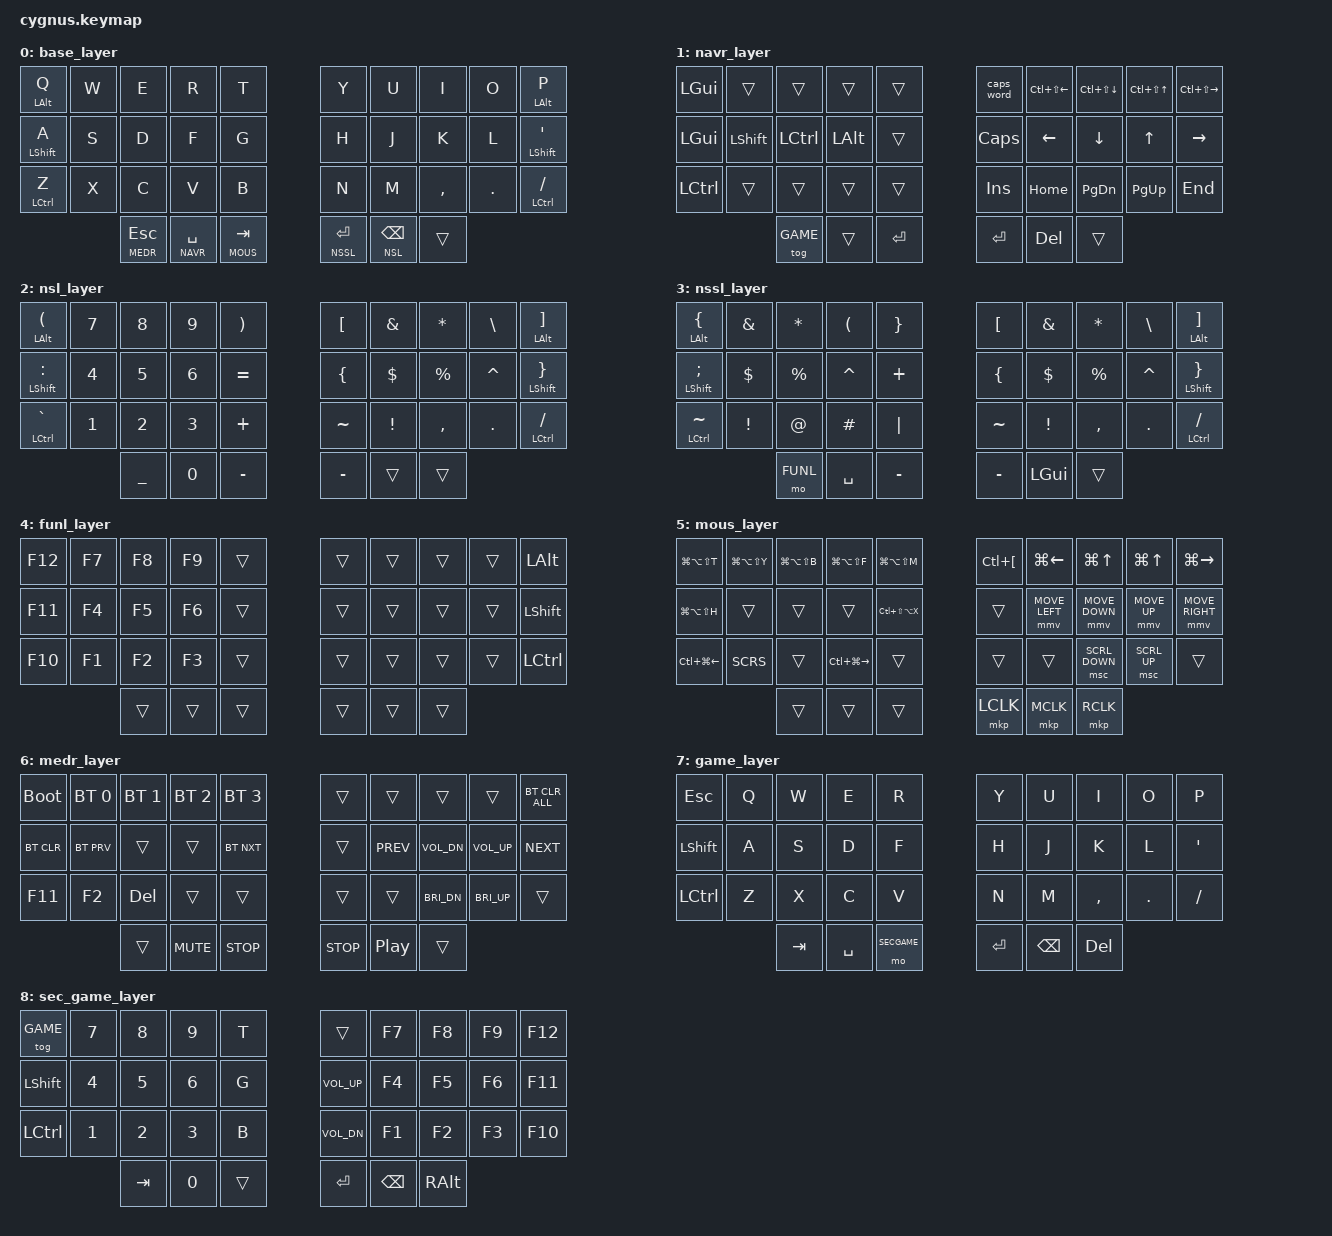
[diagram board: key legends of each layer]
/*
 * Copyright (c) 2020 The ZMK Contributors
 *
 * SPDX-License-Identifier: MIT
 */

#define ZMK_POINTING_DEFAULT_MOVE_VAL 1200  // default: 600

#include <behaviors.dtsi>
#include <dt-bindings/zmk/keys.h>
#include <dt-bindings/zmk/bt.h>
#include <dt-bindings/zmk/pointing.h>

#define BASE 0
#define NAVR 1
#define NSL  2
#define NSSL 3
#define FUNL 4
#define MOUS 5
#define MEDR 6
#define GAME 7
#define SECGAME 8

#define Y_TERM LG(LA(LS(T))) // Yabai: Terminal Scratchpad
#define Y_CALE LG(LA(LS(B))) // Yabai: Calendar Scratchpad
#define Y_SPOT LG(LA(LS(Y))) // Yabai: Spotify Scratchpad
#define Y_WAPP LG(LA(LS(F))) // Yabai: Whatsapp Scratchpad
#define Y_MAIL LG(LA(LS(M))) // Yabai: Mail Scratchpad
#define Y_SFW LG(LA(LS(H))) // Yabai: Swap Focused Window to Clockwise Screen
#define Y_RR LC(LS(LA(X))) // Yabai: Make Window Fill Space (One Tap)
#define BCK LC(LBKT) // Navigate Back
#define SL LG(LEFT) // Move a Space Left
#define SR LG(RIGHT) // Move a Space Right
#define MC LG(UP) // Mission Control
#define THR_R LC(LG(RIGHT)) //Throw the Active Window to the Space to the Right
#define THR_L LC(LG(LEFT)) //Throw the Active Window to the Space to the Right
#define TAB_L LC(LS(LEFT)) // Switch to the Tab to the Left
#define TAB_R LC(LS(RIGHT)) // Switch to the Tab to the Right
#define TAB_U LC(LS(UP)) // Switch to the Tab Above
#define TAB_D LC(LS(DOWN)) // Switch to the Tab Below

&mt {
    tapping-term-ms = <160>;
    flavor = "balanced";
};

/ {
        behaviors {
                SCRS: tap_dance_1 {
                    compatible = "zmk,behavior-tap-dance";
                    label = "SCRS";
                    #binding-cells = <0>;
                    tapping-term-ms = <200>;
                    bindings = <&kp LG(LS(S))>, <&kp LC(LS(N4))>;  // Screenshot to Clipboard (One Tap) or to Desktop (Two Taps)               
                };
        };

        keymap {
                compatible = "zmk,keymap";

                base_layer {
                        bindings = <
                  &mt LALT Q  &kp W &kp E &kp R &kp T      &kp Y &kp U  &kp I     &kp O   &mt LALT P
                  &mt LSHFT A &kp S &kp D &kp F &kp G      &kp H &kp J  &kp K     &kp L   &mt LSHFT SQT
                  &mt LCTRL Z &kp X &kp C &kp V &kp B      &kp N &kp M  &kp COMMA &kp DOT &mt LCTRL FSLH
             &lt MEDR ESC &lt NAVR SPACE &lt MOUS TAB      &lt NSSL ENTER &lt NSL BSPC &trans
                        >;
                };
                
                navr_layer {
                        bindings = <
        &kp LGUI  &trans    &trans    &trans   &trans      &caps_word &kp TAB_L &kp TAB_D &kp TAB_U &kp TAB_R
        &kp LGUI  &kp LSHFT &kp LCTRL &kp LALT &trans      &kp CLCK   &kp LEFT  &kp DOWN  &kp UP    &kp RIGHT
        &kp LCTRL &trans    &trans    &trans   &trans      &kp INS    &kp HOME  &kp PG_DN &kp PG_UP &kp END
                            &tog GAME &trans   &kp ENTER   &kp ENTER  &kp DEL   &trans
                        >;
                };

                nsl_layer {
                        bindings = <
        &mt LALT LPRN   &kp N7 &kp N8 &kp N9 &kp RPRN       &kp LBKT  &kp AMPS &kp ASTRK &kp BSLH  &mt LALT RBKT
        &mt LSHFT COLON &kp N4 &kp N5 &kp N6 &kp EQUAL      &kp LBRC  &kp DLLR &kp PRCNT &kp CARET &mt LSHFT RBRC 
        &mt LCTRL GRAVE &kp N1 &kp N2 &kp N3 &kp PLUS       &kp TILDE &kp EXCL &kp COMMA &kp DOT   &mt LCTRL SLASH
                            &kp UNDER &kp N0 &kp MINUS      &kp MINUS &trans   &trans
                        >;
                };

                nssl_layer {
                        bindings = <
&mt LALT LBRC   &kp AMPS &kp ASTRK &kp LPAR  &kp RBRC       &kp LBKT  &kp AMPS &kp ASTRK &kp BSLH  &mt LALT RBKT
&mt LSHFT SEMI  &kp DLLR &kp PRCNT &kp CARET &kp PLUS       &kp LBRC  &kp DLLR &kp PRCNT &kp CARET &mt LSHFT RBRC 
&mt LCTRL TILDE &kp EXCL &kp AT    &kp HASH  &kp PIPE       &kp TILDE &kp EXCL &kp COMMA &kp DOT   &mt LCTRL SLASH
                        &mo FUNL  &kp SPACE &kp MINUS       &kp MINUS &kp LGUI &trans
                        >;
                };
                
                funl_layer {
                        bindings = <
                  &kp F12 &kp F7 &kp F8 &kp F9 &trans       &trans &trans &trans &trans &kp LALT
                  &kp F11 &kp F4 &kp F5 &kp F6 &trans       &trans &trans &trans &trans &kp LSHFT
                  &kp F10 &kp F1 &kp F2 &kp F3 &trans       &trans &trans &trans &trans &kp LCTRL
                                 &trans &trans &trans       &trans &trans &trans
                        >;
                };

                mous_layer {
                        bindings = <
&kp Y_TERM &kp Y_SPOT &kp Y_CALE &kp Y_WAPP &kp Y_MAIL      &kp BCK &kp SL         &kp MC         &kp MC       &kp SR
&kp Y_SFW  &trans     &trans     &trans     &kp Y_RR        &trans  &mmv MOVE_LEFT &mmv MOVE_DOWN &mmv MOVE_UP &mmv MOVE_RIGHT
&kp THR_L  &SCRS      &trans     &kp THR_R  &trans          &trans  &trans         &msc SCRL_DOWN &msc SCRL_UP &trans
                      &trans     &trans     &trans          &mkp LCLK &mkp MCLK &mkp RCLK
                        >;
                };

                medr_layer {
                        bindings = <
&bootloader &bt BT_SEL 0 &bt BT_SEL 1 &bt BT_SEL 2 &bt BT_SEL 3 &trans &trans     &trans       &trans       &bt BT_CLR_ALL
&bt BT_CLR &bt BT_PRV &trans      &trans       &bt BT_NXT   &trans &kp C_PREV &kp K_VOL_DN &kp K_VOL_UP &kp C_NEXT
&kp F11    &kp F2     &kp DEL     &trans       &trans       &trans &trans     &kp C_BRI_DN &kp C_BRI_UP  &trans
                      &trans      &kp K_MUTE   &kp C_STOP   &kp C_STOP &kp C_PP &trans
                        >;
                };
                
                game_layer {
                        bindings = <
                     &kp ESC   &kp Q &kp W &kp E &kp R      &kp Y &kp U  &kp I     &kp O   &kp P
                     &kp LSHFT &kp A &kp S &kp D &kp F      &kp H &kp J  &kp K     &kp L   &kp SQT
                     &kp LCTRL &kp Z &kp X &kp C &kp V      &kp N &kp M  &kp COMMA &kp DOT &kp FSLH
                         &kp TAB &kp SPACE &mo SECGAME      &kp ENTER &kp BSPC &kp DEL
                        >;
                };
                
                sec_game_layer {
                        bindings = <
                 &tog GAME &kp N7 &kp N8 &kp N9 &kp T       &trans       &kp F7 &kp F8 &kp F9 &kp F12 
                 &kp LSHFT &kp N4 &kp N5 &kp N6 &kp G       &kp K_VOL_UP &kp F4 &kp F5 &kp F6 &kp F11 
                 &kp LCTRL &kp N1 &kp N2 &kp N3 &kp B       &kp K_VOL_DN &kp F1 &kp F2 &kp F3 &kp F10 
                                 &kp TAB &kp N0 &trans      &kp ENTER &kp BSPC &kp RALT
                        >;
                };
        };
};
